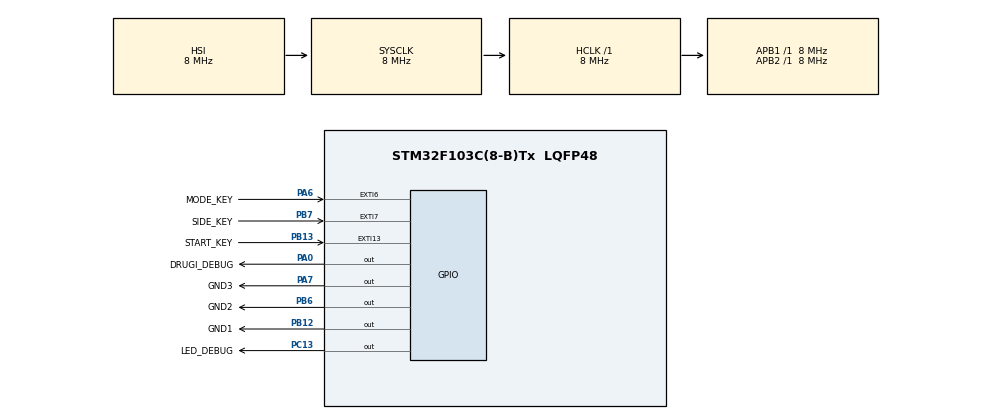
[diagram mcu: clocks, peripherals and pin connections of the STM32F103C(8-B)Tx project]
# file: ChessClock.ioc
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Mcu.Family=STM32F1
Mcu.Name=STM32F103C(8-B)Tx
Mcu.Package=LQFP48
NVIC.EXTI15_10_IRQn=true\:0\:0\:false\:false\:true\:true
NVIC.EXTI9_5_IRQn=true\:0\:0\:false\:false\:true\:true
NVIC.PriorityGroup=NVIC_PRIORITYGROUP_4
NVIC.RTC_IRQn=true\:0\:0\:false\:false\:true\:true
NVIC.TIM1_BRK_IRQn=true\:0\:0\:false\:false\:true\:true
NVIC.TIM1_CC_IRQn=true\:0\:0\:false\:false\:true\:true
NVIC.TIM1_TRG_COM_IRQn=true\:0\:0\:false\:false\:true\:true
NVIC.TIM1_UP_IRQn=true\:0\:0\:false\:false\:true\:true
PA0-WKUP.GPIO_Label=DRUGI_DEBUG
PA0-WKUP.Signal=GPIO_Output
PA13.Mode=Serial_Wire
PA13.Signal=SYS_JTMS-SWDIO
PA14.Mode=Serial_Wire
PA14.Signal=SYS_JTCK-SWCLK
PA6.GPIO_Label=MODE_KEY
PA6.GPIO_ModeDefaultEXTI=GPIO_MODE_IT_FALLING
PA6.GPIO_PuPd=GPIO_PULLUP
PA6.Signal=GPXTI6
PA7.GPIO_Label=GND3
PA7.Signal=GPIO_Output
PB12.GPIO_Label=GND1
PB12.Signal=GPIO_Output
PB13.GPIO_Label=START_KEY
PB13.GPIO_ModeDefaultEXTI=GPIO_MODE_IT_FALLING
PB13.GPIO_PuPd=GPIO_PULLUP
PB13.Signal=GPXTI13
PB6.GPIO_Label=GND2
PB6.Signal=GPIO_Output
PB7.GPIO_Label=SIDE_KEY
PB7.GPIO_ModeDefaultEXTI=GPIO_MODE_IT_RISING_FALLING
PB7.GPIO_PuPd=GPIO_PULLUP
PB7.Signal=GPXTI7
PC13-TAMPER-RTC.GPIO_Label=LED_DEBUG
PC13-TAMPER-RTC.PinState=GPIO_PIN_SET
PC13-TAMPER-RTC.Signal=GPIO_Output
PC14-OSC32_IN.Mode=LSE-External-Oscillator
PC14-OSC32_IN.Signal=RCC_OSC32_IN
PC15-OSC32_OUT.Mode=LSE-External-Oscillator
PC15-OSC32_OUT.Signal=RCC_OSC32_OUT
ProjectManager.HeapSize=0x200
ProjectManager.StackSize=0x400
ProjectManager.TargetToolchain=Makefile
RCC.AHBFreq_Value=8000000
RCC.APB1Freq_Value=8000000
RCC.APB1TimFreq_Value=8000000
RCC.APB2Freq_Value=8000000
RCC.APB2TimFreq_Value=8000000
RCC.HCLKFreq_Value=8000000
RCC.PLLMUL=RCC_PLL_MUL6
RCC.RTCClockSelection=RCC_RTCCLKSOURCE_LSE
RCC.SYSCLKFreq_VALUE=8000000
RCC.USBFreq_Value=24000000
TIM1.Period=999
TIM1.Prescaler=8000
VP_RTC_VS_RTC_Activate.Mode=RTC_Enabled
VP_TIM1_VS_ClockSourceINT.Mode=Internal
board=custom

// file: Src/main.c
/**
  ******************************************************************************
  * @file           : main.c
  * @brief          : Main program body
  ******************************************************************************
  ** This notice applies to any and all portions of this file
  * that are not between comment pairs USER CODE BEGIN and
  * USER CODE END. Other portions of this file, whether
  * inserted by the user or by software development tools
  * are owned by their respective copyright owners.
  *
  * COPYRIGHT(c) 2020 STMicroelectronics
  *
  * Redistribution and use in source and binary forms, with or without modification,
  * are permitted provided that the following conditions are met:
  *   1. Redistributions of source code must retain the above copyright notice,
  *      this list of conditions and the following disclaimer.
  *   2. Redistributions in binary form must reproduce the above copyright notice,
  *      this list of conditions and the following disclaimer in the documentation
  *      and/or other materials provided with the distribution.
  *   3. Neither the name of STMicroelectronics nor the names of its contributors
  *      may be used to endorse or promote products derived from this software
  *      without specific prior written permission.
  *
  * THIS SOFTWARE IS PROVIDED BY THE COPYRIGHT HOLDERS AND CONTRIBUTORS "AS IS"
  * AND ANY EXPRESS OR IMPLIED WARRANTIES, INCLUDING, BUT NOT LIMITED TO, THE
  * IMPLIED WARRANTIES OF MERCHANTABILITY AND FITNESS FOR A PARTICULAR PURPOSE ARE
  * DISCLAIMED. IN NO EVENT SHALL THE COPYRIGHT HOLDER OR CONTRIBUTORS BE LIABLE
  * FOR ANY DIRECT, INDIRECT, INCIDENTAL, SPECIAL, EXEMPLARY, OR CONSEQUENTIAL
  * DAMAGES (INCLUDING, BUT NOT LIMITED TO, PROCUREMENT OF SUBSTITUTE GOODS OR
  * SERVICES; LOSS OF USE, DATA, OR PROFITS; OR BUSINESS INTERRUPTION) HOWEVER
  * CAUSED AND ON ANY THEORY OF LIABILITY, WHETHER IN CONTRACT, STRICT LIABILITY,
  * OR TORT (INCLUDING NEGLIGENCE OR OTHERWISE) ARISING IN ANY WAY OUT OF THE USE
  * OF THIS SOFTWARE, EVEN IF ADVISED OF THE POSSIBILITY OF SUCH DAMAGE.
  *
  ******************************************************************************
  */
#include "main.h"
#include "stm32f1xx_hal.h"
#include "rtc.h"
#include "tim.h"
#include "gpio.h"

/* USER CODE BEGIN Includes */
#include "stm32_tm1637.h"
#include "game.h"
#include "menu.h"
#include "mode.h"
/* USER CODE END Includes */

/* USER CODE BEGIN PV */
/* Private variables ---------------------------------------------------------*/

/* USER CODE END PV */

void SystemClock_Config(void);

/* USER CODE BEGIN PFP */
/* Private function prototypes -----------------------------------------------*/

/* USER CODE END PFP */

int main(void)
{

  /* MCU Configuration----------------------------------------------------------*/

  /* Reset of all peripherals, Initializes the Flash interface and the Systick. */
  HAL_Init();

  /* Configure the system clock */
  SystemClock_Config();

  /* Initialize all configured peripherals */
  MX_GPIO_Init();
  MX_RTC_Init();
  MX_TIM1_Init();
  /* USER CODE BEGIN 2 */

  tm1637Init(display[0]); //Player 1
  tm1637Init(display[1]); //Player 2

  if (mode == MENU) menuInit(&menu);
  if (mode == GAME) gameInit(&game);
  /* USER CODE END 2 */

  /* Infinite loop */
  while (1)
  {
  }

}

void SystemClock_Config(void)
{

  RCC_OscInitTypeDef RCC_OscInitStruct;
  RCC_ClkInitTypeDef RCC_ClkInitStruct;
  RCC_PeriphCLKInitTypeDef PeriphClkInit;

    /**Initializes the CPU, AHB and APB busses clocks
    */
  RCC_OscInitStruct.OscillatorType = RCC_OSCILLATORTYPE_HSI|RCC_OSCILLATORTYPE_LSE;
  RCC_OscInitStruct.LSEState = RCC_LSE_ON;
  RCC_OscInitStruct.HSIState = RCC_HSI_ON;
  RCC_OscInitStruct.HSICalibrationValue = 16;
  RCC_OscInitStruct.PLL.PLLState = RCC_PLL_NONE;
  if (HAL_RCC_OscConfig(&RCC_OscInitStruct) != HAL_OK)
  {
    _Error_Handler(__FILE__, __LINE__);
  }

    /**Initializes the CPU, AHB and APB busses clocks
    */
  RCC_ClkInitStruct.ClockType = RCC_CLOCKTYPE_HCLK|RCC_CLOCKTYPE_SYSCLK
                              |RCC_CLOCKTYPE_PCLK1|RCC_CLOCKTYPE_PCLK2;
  RCC_ClkInitStruct.SYSCLKSource = RCC_SYSCLKSOURCE_HSI;
  RCC_ClkInitStruct.AHBCLKDivider = RCC_SYSCLK_DIV1;
  RCC_ClkInitStruct.APB1CLKDivider = RCC_HCLK_DIV1;
  RCC_ClkInitStruct.APB2CLKDivider = RCC_HCLK_DIV1;

  if (HAL_RCC_ClockConfig(&RCC_ClkInitStruct, FLASH_LATENCY_0) != HAL_OK)
  {
    _Error_Handler(__FILE__, __LINE__);
  }

  PeriphClkInit.PeriphClockSelection = RCC_PERIPHCLK_RTC;
  PeriphClkInit.RTCClockSelection = RCC_RTCCLKSOURCE_LSE;
  if (HAL_RCCEx_PeriphCLKConfig(&PeriphClkInit) != HAL_OK)
  {
    _Error_Handler(__FILE__, __LINE__);
  }

    /**Configure the Systick interrupt time
    */
  HAL_SYSTICK_Config(HAL_RCC_GetHCLKFreq()/1000);

    /**Configure the Systick
    */
  HAL_SYSTICK_CLKSourceConfig(SYSTICK_CLKSOURCE_HCLK);

  /* SysTick_IRQn interrupt configuration */
  HAL_NVIC_SetPriority(SysTick_IRQn, 0, 0);
}

/* USER CODE BEGIN 4 */

  void HAL_GPIO_EXTI_Callback(uint16_t GPIO_Pin) {
    //Before side-switch trigger
    if (GPIO_Pin == SIDE_KEY_Pin) {
      switch (mode)
      {
        case GAME:
          switchCurrentPlayer(&game);
          break;

        default:
          break;
      }
    }

    //Before press button 1
    if (GPIO_Pin == START_KEY_Pin) {
      switch (mode)
      {
        case MENU:
          setMenuOption(&menu);
          break;

        case GAME:
          switchGameState(&game);
          break;

        default:
          break;
      }
    }

    if (GPIO_Pin == MODE_KEY_Pin) {
      switch (mode)
      {
        case MENU:
          nextMenuOption(&menu);
          break;

        case GAME:
          switch (game.state)
          {
            case PAUSED:
              //Restart game
              gameInit(&game);
            break;

            case ENDED:
              //Restart game
              gameInit(&game);
            break;

            default:
            break;
          }
          break;

        default:
          break;
      }
    }
  }

  void HAL_TIM_PeriodElapsedCallback(TIM_HandleTypeDef *htim) {

    if(htim->Instance == TIM1) {
      decrementTimeForActivePlayer(&game);
    }

  }
/* USER CODE END 4 */

void _Error_Handler(char *file, int line)
{
}

/************************ (C) COPYRIGHT STMicroelectronics *****END OF FILE****/
